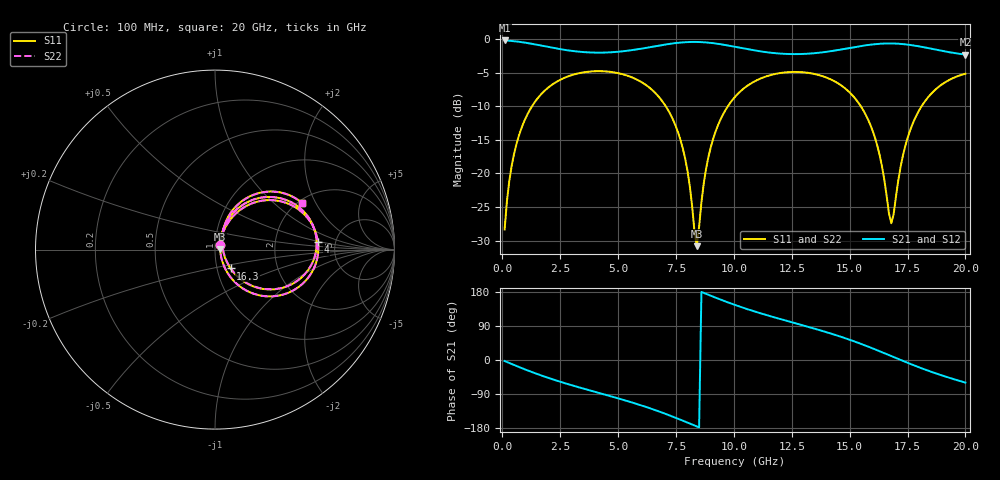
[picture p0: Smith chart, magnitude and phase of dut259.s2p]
! Touchstone file exported from HFSS 2026.1.0
!  File:  C:/ffzhzh/LocalFiles/Ansys_Project_Files/temp_train_TSV_RDL_259_1783069199_45820.aedt
!  Generated:  05:16:05 PM Jul  3, 2026
!  Design:  TSV_RDL
!  Project:  temp_train_TSV_RDL_259_1783069199_45820
! Variables:
!  h_bsmrdl = 5.65um
!  h_ox = 20um
!  h_rdl = 5um
!  h_sub = 96.54um
!  h_tmrdl = 4.04um
!  h_tsv = 96.54um
!  h_via = 3um
!  l_bsmrdl = 953.12um
!  l_sub = 6865.58um
!  l_tmrdl = 871.75um
!  m_sub = 200um
!  pitch = 58.22um
!  r_tsv = 13.92um
!  s_tmrdl = 10um
!  w_bsmrdl = 21.22um
!  w_sub = 500um
!  w_tmrdl = 18.52um
!  x_tsv_center1 = 881.01um
!  x_tsv_center2 = 1855.35um
!  x_tsv_center3 = 2745.62um
!  x_tsv_center4 = 3719.96um
!  x_tsv_center5 = 4610.23um
!  x_tsv_center6 = 5584.57um
# GHz S MA R 50.000000
! Terminal data exported
! Port[1] = TM_RDL1_1_T1
! Port[2] = TM_RDL5_1_T1
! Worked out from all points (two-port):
!   200 points, 100 MHz to 20 GHz, reference 50 ohm
!   highest |S21| = -0.23 dB at 100 MHz (marker M1); lowest = -2.3 dB at 20 GHz (marker M2)
!   |S21| within 3 dB of the highest: start of sweep to end of sweep
!   lowest |S11| = -30.8 dB at 8.4 GHz (marker M3), VSWR 1.06, Z = 52.9 + j0.407 ohm
!   |S11| at or under -10 dB: start of sweep to 1.287 GHz; 7.056 GHz to 9.745 GHz (2.689 GHz wide, 32 % of centre); 15.48 GHz to 18.11 GHz (2.631 GHz wide, 15.7 % of centre)
!   |S22| runs from -30.8 to -4.8 dB; largest |S21 - S12| = 1.6e-14
!   S11 on the Smith chart (normalised r, x): 100 MHz: 1.05, +0.06; 4 GHz: 3.65, +0.45; 16.3 GHz: 1.16, -0.25; 20 GHz: 2.11, +1.56
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0.1  0.03825 45.5  0.9741 -2.7  0.9741 -2.7  0.03825 45.5
! Gamma 0 0 0 0
! Port Impedance 50 0 50 0
0.5  0.1376 65.0  0.9622 -13.0  0.9622 -13.0  0.1376 65.0
1.1  0.2778 56.3  0.9313 -27.6  0.9313 -27.6  0.2778 56.3
2.1  0.4504 36.9  0.8639 -49.5  0.8639 -49.5  0.4504 36.9
3.5  0.5637 12.3  0.7986 -75.4  0.7986 -75.4  0.5637 12.3
4  0.575 4.1  0.791 -84.0  0.791 -84.0  0.575 4.1
5.3  0.5402 -17.3  0.8127 -106.5  0.8127 -106.5  0.5402 -17.3
6.8  0.364 -44.9  0.8943 -136.5  0.8943 -136.5  0.364 -44.9
7.8  0.1523 -61.6  0.9428 -160.2  0.9428 -160.2  0.1523 -61.6
8.4  0.02875 7.7  0.9495 -175.3  0.9495 -175.3  0.02869 7.8
8.7  0.08409 65.6  0.9446 177.1  0.9446 177.1  0.08408 65.7
9  0.1558 67.7  0.9345 169.6  0.9345 169.6  0.1558 67.8
10.1  0.3789 49.3  0.8704 144.2  0.8704 144.2  0.3789 49.4
11.8  0.5495 19.5  0.7829 111.7  0.7829 111.7  0.5495 19.6
13.4  0.5523 -6.0  0.7809 84.2  0.7809 84.2  0.5523 -5.9
15.2  0.3675 -37.1  0.8681 49.2  0.8681 49.2  0.3676 -36.9
16.3  0.136 -50.5  0.9201 23.1  0.9201 23.1  0.1365 -49.9
16.7  0.05031 -20.7  0.9257 12.9  0.9257 12.9  0.05158 -19.7
16.8  0.04259 8.1  0.9256 10.4  0.9256 10.4  0.0441 8.2
17.4  0.1591 68.9  0.9118 -4.8  0.9118 -4.8  0.1595 68.4
18  0.2939 62.2  0.8804 -19.3  0.8804 -19.3  0.2941 62.0
20  0.5508 27.9  0.7651 -59.7  0.7651 -59.7  0.5509 27.8
